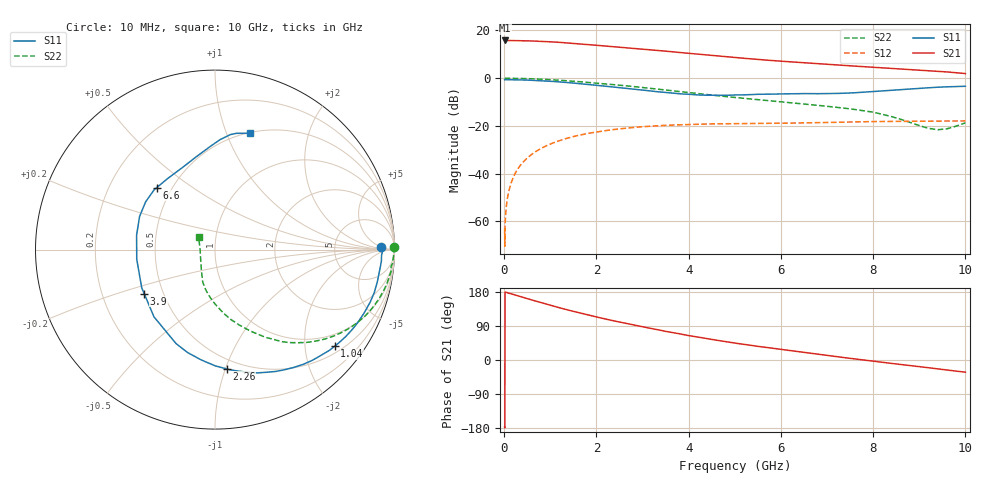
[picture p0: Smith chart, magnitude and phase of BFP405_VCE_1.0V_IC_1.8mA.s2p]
! Infineon Technologies  Discrete & RF Semiconductors
! BFP405
! VCE =  1.0 V,  IC =  1.8 mA
! Common Emitter S-Parameters:  Jan 2016
# GHz  S  MA  R  50
!  f  S11  S21  S12  S22
! GHz  MAG  ANG  MAG  ANG  MAG  ANG  MAG  ANG
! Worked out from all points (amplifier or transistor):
!   233 points, 10 MHz to 10 GHz, reference 50 ohm
!   highest |S21| = 15.8 dB at 10 MHz (marker M1)
!   |S21| within 3 dB of that: start of sweep to 2.594 GHz
!   unconditionally stable (mu >= 1): 4.416 GHz to end of sweep
!   at 200 MHz: K = 0.03, MSG = 28.6 dB, |S12| = -41.4 dB
!   at 1.74 GHz: K = 0.32, MSG = 18.8 dB, |S12| = -23.5 dB
!   at 10 GHz: K = 1.76, MAG = 4.9 dB, |S12| = -17.9 dB
!   S11 on the Smith chart (normalised r, x): 10 MHz: 25, +5; 1.04 GHz: 0.66, -2.69; 2.26 GHz: 0.42, -1.01; 3.9 GHz: 0.39, -0.24; 6.6 GHz: 0.41, +0.37; 10 GHz: 0.51, +1.21
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0.01  0.9266 0.8  6.182 -177.1  0.0007 -27.1  1 0.7
0.015  0.9302 0.1  6.148 -178.9  0.0003 46.0  0.996 0.4
0.02  0.9339 -0.5  6.12 179.2  0.0008 102.9  0.992 0.1
0.03  0.932 -1.0  6.119 179.0  0.0013 96.1  0.9931 -0.2
0.06  0.9287 -2.2  6.127 178.1  0.0026 90.6  0.9955 -1.1
0.13  0.9281 -4.7  6.162 175.4  0.0055 87.9  0.9942 -2.8
0.24  0.9233 -8.9  6.169 171.4  0.0102 85.3  0.9857 -5.3
0.5  0.9129 -18.7  6.096 162.1  0.0212 79.9  0.9771 -10.8
1.04  0.8567 -38.9  5.764 143.2  0.0431 68.2  0.9253 -22.0
1.38  0.8088 -51.7  5.478 132.0  0.0555 61.0  0.8803 -28.6
1.68  0.7614 -62.8  5.204 122.8  0.0654 55.0  0.8364 -34.0
2.26  0.668 -84.4  4.664 106.5  0.0811 44.2  0.7491 -43.1
2.98  0.569 -111.7  4.074 88.0  0.0956 32.5  0.6414 -53.3
3.4  0.513 -127.9  3.75 78.2  0.1013 26.4  0.5788 -58.6
3.9  0.4645 -148.2  3.397 66.8  0.1062 19.8  0.511 -64.8
4.5  0.4393 -173.0  3.013 54.0  0.1101 12.9  0.4412 -72.2
5.1  0.4452 166.9  2.666 42.9  0.1116 7.4  0.3857 -78.8
6.6  0.474 133.2  2.079 18.6  0.1158 -2.0  0.2819 -93.3
6.8  0.4733 128.7  2.014 15.4  0.1167 -3.1  0.2694 -95.4
8.4  0.56 95.1  1.598 -9.0  0.1239 -13.0  0.1563 -118.2
9.4  0.6464 82.4  1.396 -23.5  0.126 -18.5  0.083 -173.9
10  0.6768 73.3  1.251 -32.2  0.127 -21.1  0.1156 142.4
